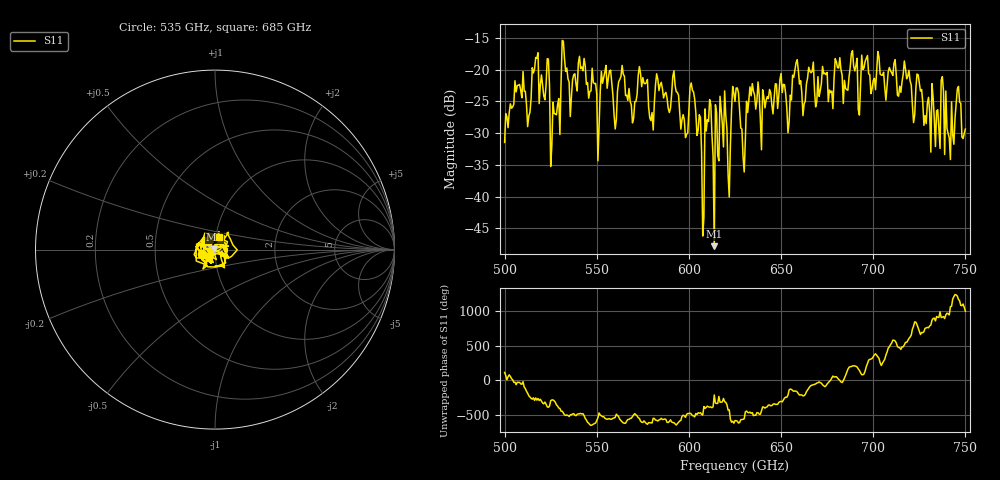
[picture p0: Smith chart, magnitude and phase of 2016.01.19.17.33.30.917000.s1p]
!Created with skrf (http://scikit-rf.org).
# GHz S RI R 50.0
!freq ReS11 ImS11
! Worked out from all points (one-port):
!   401 points, 500 GHz to 750 GHz, reference 50 ohm
!   lowest |S11| = -47.8 dB at 613.8 GHz (marker M1), VSWR 1.01, Z = 49.6 + j0.204 ohm
!   |S11| at or under -10 dB: start of sweep to end of sweep
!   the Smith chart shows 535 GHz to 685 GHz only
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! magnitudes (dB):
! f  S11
! 500 GHz  -31.5
! 506.9 GHz  -22.5
! 513.1 GHz  -27.3
! 516.9 GHz  -18.1
! 526.2 GHz  -25.1
! 531.2 GHz  -15.4
! 541.9 GHz  -19.6
! 550.6 GHz  -34.4
! 562.5 GHz  -21.6
! 569.4 GHz  -28.4
! 576.2 GHz  -22.2
! 579.4 GHz  -28.0
! 583.1 GHz  -21.5
! 593.8 GHz  -23.6
! 598.1 GHz  -30.7
! 601.9 GHz  -23.3
! 606.9 GHz  -32.9
! 610 GHz  -27.9
! 613.8 GHz  -47.8
! 618.1 GHz  -28.5
! 621.9 GHz  -40.1
! 625 GHz  -25.0
! 629.4 GHz  -33.7
! 633.8 GHz  -24.1
! 656.2 GHz  -20.9
! 687.5 GHz  -19.7
! 718.8 GHz  -21.1
! 750 GHz  -29.4
